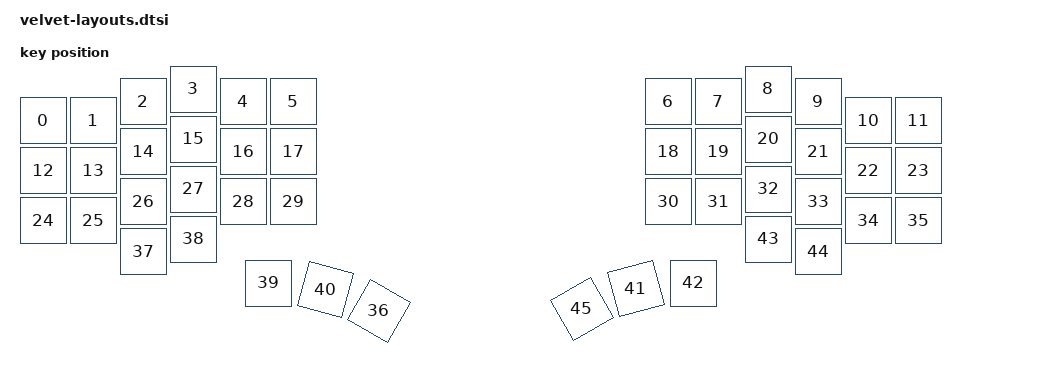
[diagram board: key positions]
#include <physical_layouts.dtsi>

/ {
    velvet_layout: velvet_layout {
        compatible = "zmk,physical-layout";
        display-name = "Layout";
        transform = <&default_transform>;

        keys  //                     w   h    x    y     rot    rx    ry
            = <&key_physical_attrs 100 100    0   85       0     0     0>
            , <&key_physical_attrs 100 100  100   85       0     0     0>
            , <&key_physical_attrs 100 100  200   47       0     0     0>
            , <&key_physical_attrs 100 100  300   22       0     0     0>
            , <&key_physical_attrs 100 100  400   47       0     0     0>
            , <&key_physical_attrs 100 100  500   47       0     0     0>
            , <&key_physical_attrs 100 100 1250   47       0     0     0>
            , <&key_physical_attrs 100 100 1350   47       0     0     0>
            , <&key_physical_attrs 100 100 1450   22       0     0     0>
            , <&key_physical_attrs 100 100 1550   47       0     0     0>
            , <&key_physical_attrs 100 100 1650   85       0     0     0>
            , <&key_physical_attrs 100 100 1750   85       0     0     0>
            , <&key_physical_attrs 100 100    0  185       0     0     0>
            , <&key_physical_attrs 100 100  100  185       0     0     0>
            , <&key_physical_attrs 100 100  200  147       0     0     0>
            , <&key_physical_attrs 100 100  300  122       0     0     0>
            , <&key_physical_attrs 100 100  400  147       0     0     0>
            , <&key_physical_attrs 100 100  500  147       0     0     0>
            , <&key_physical_attrs 100 100 1250  147       0     0     0>
            , <&key_physical_attrs 100 100 1350  147       0     0     0>
            , <&key_physical_attrs 100 100 1450  122       0     0     0>
            , <&key_physical_attrs 100 100 1550  147       0     0     0>
            , <&key_physical_attrs 100 100 1650  185       0     0     0>
            , <&key_physical_attrs 100 100 1750  185       0     0     0>
            , <&key_physical_attrs 100 100    0  285       0     0     0>
            , <&key_physical_attrs 100 100  100  285       0     0     0>
            , <&key_physical_attrs 100 100  200  247       0     0     0>
            , <&key_physical_attrs 100 100  300  222       0     0     0>
            , <&key_physical_attrs 100 100  400  247       0     0     0>
            , <&key_physical_attrs 100 100  500  247       0     0     0>
            , <&key_physical_attrs 100 100 1250  247       0     0     0>
            , <&key_physical_attrs 100 100 1350  247       0     0     0>
            , <&key_physical_attrs 100 100 1450  222       0     0     0>
            , <&key_physical_attrs 100 100 1550  247       0     0     0>
            , <&key_physical_attrs 100 100 1650  285       0     0     0>
            , <&key_physical_attrs 100 100 1750  285       0     0     0>
            , <&key_physical_attrs 100 100  865    0    3000 (-50) (-78)>
            , <&key_physical_attrs 100 100  200  347       0     0     0>
            , <&key_physical_attrs 100 100  300  322       0     0     0>
            , <&key_physical_attrs 100 100  450  410       0     0     0>
            , <&key_physical_attrs 100 100  685  232    1500 (-50) (-78)>
            , <&key_physical_attrs 100 100 1000  735 (-1500) (-50) (-78)>
            , <&key_physical_attrs 100 100 1300  410       0     0     0>
            , <&key_physical_attrs 100 100 1450  322       0     0     0>
            , <&key_physical_attrs 100 100 1550  347       0     0     0>
            , <&key_physical_attrs 100 100  625  972 (-3000) (-50) (-78)>
            ;
    };
};
